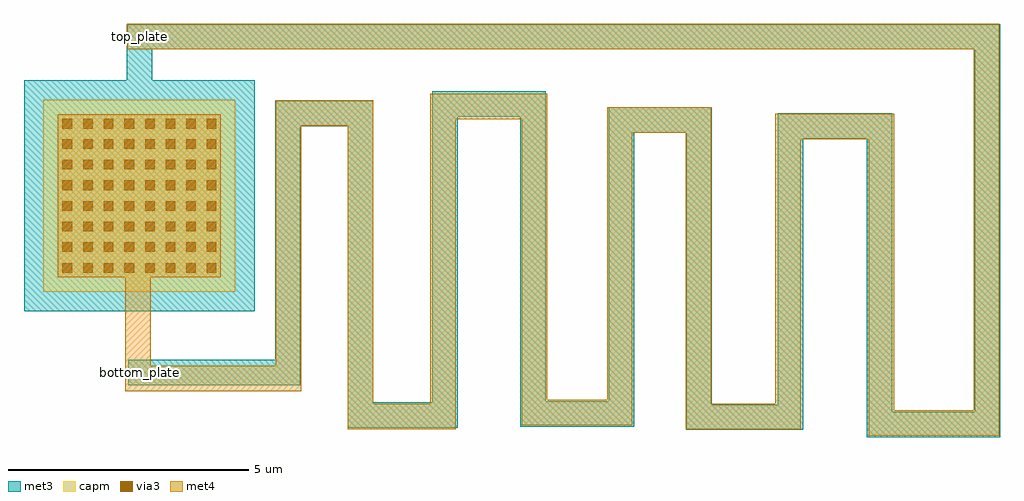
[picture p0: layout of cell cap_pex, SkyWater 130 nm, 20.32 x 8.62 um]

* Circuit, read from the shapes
.subckt cap_pex bottom_plate top_plate
XC1 top_plate bottom_plate sky130_fd_pr__cap_mim_m3_1 w=4 l=4
.ends

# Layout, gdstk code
import gdstk
lib = gdstk.Library(unit=1e-6, precision=1e-09)
def R(c, l, rs):  # rectangles x0, y0, x1, y1
    for r in rs: c.add(gdstk.rectangle(r[:2], r[2:], *l))
def A(c, l, x, y, w, h, nx, ny, dx, dy):  # array of equal rectangles
    R(c, l, [(x+i*dx, y+j*dy, x+i*dx+w, y+j*dy+h) for i in range(nx) for j in range(ny)])
met3 = (70, 20)
via3 = (70, 44)
met4 = (71, 20)
capm = (89, 44)

cap_mim_m3__base__1 = lib.new_cell('cap_mim_m3__base$$1')
R(cap_mim_m3__base__1, met3, [(-0.4,-0.4,4.4,4.4)])
A(cap_mim_m3__base__1, via3, 0.4, 0.4, 0.2, 0.2, 6, 6, 0.43, 0.43)
A(cap_mim_m3__base__1, via3, 2.975, 0.4, 0.2, 0.2, 1, 6, 0, 0.43)
A(cap_mim_m3__base__1, via3, 3.4, 0.4, 0.2, 0.2, 1, 6, 0, 0.43)
A(cap_mim_m3__base__1, via3, 0.4, 2.975, 0.2, 0.2, 6, 2, 0.43, 0.425)
R(cap_mim_m3__base__1, via3, [(2.975,2.975,3.175,3.175), (3.4,2.975,3.6,3.175), (2.975,3.4,3.175,3.6), (3.4,3.4,3.6,3.6)])
R(cap_mim_m3__base__1, met4, [(0.3,0.3,3.7,3.7)])
R(cap_mim_m3__base__1, capm, [(0,0,4,4)])
cap_mim_m3__base__1.add(gdstk.Label('MINUS', (2,2), layer=70, texttype=20))
cap_mim_m3__base__1.add(gdstk.Label('PLUS', (2,2), layer=71, texttype=20))

cap_pex = lib.new_cell('cap_pex')
R(cap_pex, met3, [(4.76,1.055,5.255,1.58)])
R(cap_pex, met4, [(4.745,8.05,5.27,8.58)])
cap_pex.add(gdstk.FlexPath([(5,8.305),(5,7.395)], 0.53, ends=(0.265, 0), simple_path=True, layer=70, datatype=20))  # met3
cap_pex.add(gdstk.FlexPath([(22.645,8.305),(5,8.305)], 0.53, ends="extended", simple_path=True, layer=70, datatype=20))  # met3
cap_pex.add(gdstk.FlexPath([(22.645,0.23),(22.645,8.305)], 0.53, ends="extended", simple_path=True, layer=70, datatype=20))  # met3
cap_pex.add(gdstk.FlexPath([(20.405,0.23),(22.645,0.23)], 0.53, ends="extended", simple_path=True, layer=70, datatype=20))  # met3
cap_pex.add(gdstk.FlexPath([(20.405,6.45),(20.405,0.23)], 0.53, ends="extended", simple_path=True, layer=70, datatype=20))  # met3
cap_pex.add(gdstk.FlexPath([(18.55,6.45),(20.405,6.45)], 0.53, ends="extended", simple_path=True, layer=70, datatype=20))  # met3
cap_pex.add(gdstk.FlexPath([(18.55,0.385),(18.55,6.45)], 0.53, ends="extended", simple_path=True, layer=70, datatype=20))  # met3
cap_pex.add(gdstk.FlexPath([(16.645,0.385),(18.55,0.385)], 0.53, ends="extended", simple_path=True, layer=70, datatype=20))  # met3
cap_pex.add(gdstk.FlexPath([(5.255,1.32),(8.085,1.32)], 0.53, ends=(0, 0.265), simple_path=True, layer=70, datatype=20))  # met3
cap_pex.add(gdstk.FlexPath([(8.085,1.32),(8.085,6.705)], 0.53, ends="extended", simple_path=True, layer=70, datatype=20))  # met3
cap_pex.add(gdstk.FlexPath([(8.085,6.705),(9.6,6.705)], 0.53, ends="extended", simple_path=True, layer=70, datatype=20))  # met3
cap_pex.add(gdstk.FlexPath([(9.6,6.705),(9.6,0.435)], 0.53, ends="extended", simple_path=True, layer=70, datatype=20))  # met3
cap_pex.add(gdstk.FlexPath([(9.6,0.435),(11.355,0.435)], 0.53, ends="extended", simple_path=True, layer=70, datatype=20))  # met3
cap_pex.add(gdstk.FlexPath([(11.355,0.435),(11.355,6.905)], 0.53, ends="extended", simple_path=True, layer=70, datatype=20))  # met3
cap_pex.add(gdstk.FlexPath([(11.355,6.905),(13.19,6.905)], 0.53, ends="extended", simple_path=True, layer=70, datatype=20))  # met3
cap_pex.add(gdstk.FlexPath([(13.19,6.905),(13.19,0.45)], 0.53, ends="extended", simple_path=True, layer=70, datatype=20))  # met3
cap_pex.add(gdstk.FlexPath([(13.19,0.45),(15.03,0.45)], 0.53, ends="extended", simple_path=True, layer=70, datatype=20))  # met3
cap_pex.add(gdstk.FlexPath([(15.03,0.45),(15.03,6.57)], 0.53, ends="extended", simple_path=True, layer=70, datatype=20))  # met3
cap_pex.add(gdstk.FlexPath([(15.03,6.57),(16.645,6.57)], 0.53, ends="extended", simple_path=True, layer=70, datatype=20))  # met3
cap_pex.add(gdstk.FlexPath([(16.645,6.57),(16.645,0.385)], 0.53, ends="extended", simple_path=True, layer=70, datatype=20))  # met3
cap_pex.add(gdstk.FlexPath([(9.6,6.72),(8.105,6.72)], 0.53, ends="extended", simple_path=True, layer=71, datatype=20))  # met4
cap_pex.add(gdstk.FlexPath([(8.105,6.72),(8.105,1.19)], 0.53, ends="extended", simple_path=True, layer=71, datatype=20))  # met4
cap_pex.add(gdstk.FlexPath([(8.105,1.19),(4.97,1.19)], 0.53, ends="extended", simple_path=True, layer=71, datatype=20))  # met4
cap_pex.add(gdstk.FlexPath([(4.97,1.19),(4.97,3.295)], 0.53, ends=(0.265, 0), simple_path=True, layer=71, datatype=20))  # met4
cap_pex.add(gdstk.FlexPath([(5.27,8.315),(22.63,8.315)], 0.53, ends=(0, 0.265), simple_path=True, layer=71, datatype=20))  # met4
cap_pex.add(gdstk.FlexPath([(22.63,8.315),(22.63,0.265)], 0.53, ends="extended", simple_path=True, layer=71, datatype=20))  # met4
cap_pex.add(gdstk.FlexPath([(22.63,0.265),(20.44,0.265)], 0.53, ends="extended", simple_path=True, layer=71, datatype=20))  # met4
cap_pex.add(gdstk.FlexPath([(20.44,0.265),(20.44,6.435)], 0.53, ends="extended", simple_path=True, layer=71, datatype=20))  # met4
cap_pex.add(gdstk.FlexPath([(20.44,6.435),(18.5,6.435)], 0.53, ends="extended", simple_path=True, layer=71, datatype=20))  # met4
cap_pex.add(gdstk.FlexPath([(18.5,6.435),(18.5,0.4)], 0.53, ends="extended", simple_path=True, layer=71, datatype=20))  # met4
cap_pex.add(gdstk.FlexPath([(18.5,0.4),(16.63,0.4)], 0.53, ends="extended", simple_path=True, layer=71, datatype=20))  # met4
cap_pex.add(gdstk.FlexPath([(16.63,0.4),(16.63,6.57)], 0.53, ends="extended", simple_path=True, layer=71, datatype=20))  # met4
cap_pex.add(gdstk.FlexPath([(16.63,6.57),(14.995,6.57)], 0.53, ends="extended", simple_path=True, layer=71, datatype=20))  # met4
cap_pex.add(gdstk.FlexPath([(14.995,6.57),(14.995,0.485)], 0.53, ends="extended", simple_path=True, layer=71, datatype=20))  # met4
cap_pex.add(gdstk.FlexPath([(14.995,0.485),(13.225,0.485)], 0.53, ends="extended", simple_path=True, layer=71, datatype=20))  # met4
cap_pex.add(gdstk.FlexPath([(13.225,0.485),(13.225,6.855)], 0.53, ends="extended", simple_path=True, layer=71, datatype=20))  # met4
cap_pex.add(gdstk.FlexPath([(13.225,6.855),(11.32,6.855)], 0.53, ends="extended", simple_path=True, layer=71, datatype=20))  # met4
cap_pex.add(gdstk.FlexPath([(11.32,6.855),(11.32,0.4)], 0.53, ends="extended", simple_path=True, layer=71, datatype=20))  # met4
cap_pex.add(gdstk.FlexPath([(9.6,0.4),(9.6,6.72)], 0.53, ends="extended", simple_path=True, layer=71, datatype=20))  # met4
cap_pex.add(gdstk.FlexPath([(11.32,0.4),(9.6,0.4)], 0.53, ends="extended", simple_path=True, layer=71, datatype=20))  # met4
cap_pex.add(gdstk.Reference(cap_mim_m3__base__1, (2.995,2.995)))
cap_pex.add(gdstk.Label('bottom_plate', (5.007,1.317), layer=70, texttype=20))
cap_pex.add(gdstk.Label('top_plate', (5.007,8.315), layer=71, texttype=20))
cap_pex.add(gdstk.Label('top_plate', (5.02,8.325), layer=71, texttype=5))
cap_pex.add(gdstk.Label('bottom_plate', (5.02,1.305), layer=70, texttype=5))

lib.write_gds('cap_pex.gds')
